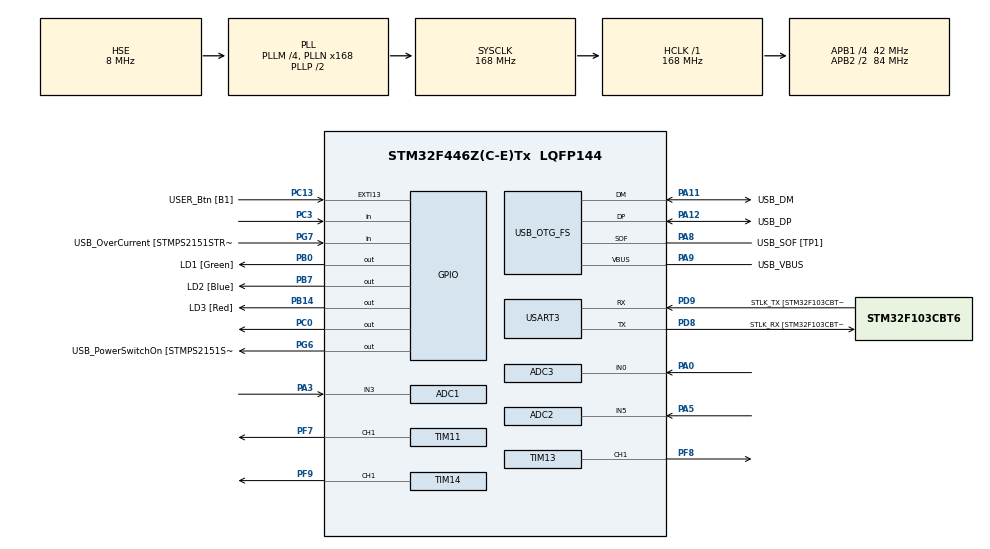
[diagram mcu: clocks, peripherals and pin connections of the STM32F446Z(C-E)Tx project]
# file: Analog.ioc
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ADC1.Channel-1\#ChannelRegularConversion=ADC_CHANNEL_3
ADC1.ClockPrescaler=ADC_CLOCK_SYNC_PCLK_DIV4
ADC1.NbrOfConversionFlag=1
ADC1.Rank-1\#ChannelRegularConversion=1
ADC1.SamplingTime-1\#ChannelRegularConversion=ADC_SAMPLETIME_3CYCLES
ADC1.master=1
ADC2.Channel-0\#ChannelRegularConversion=ADC_CHANNEL_5
ADC2.ClockPrescaler=ADC_CLOCK_SYNC_PCLK_DIV4
ADC2.NbrOfConversionFlag=1
ADC2.Rank-0\#ChannelRegularConversion=1
ADC2.SamplingTime-0\#ChannelRegularConversion=ADC_SAMPLETIME_3CYCLES
ADC3.Channel-0\#ChannelRegularConversion=ADC_CHANNEL_0
ADC3.ClockPrescaler=ADC_CLOCK_SYNC_PCLK_DIV4
ADC3.NbrOfConversionFlag=1
ADC3.Rank-0\#ChannelRegularConversion=1
ADC3.SamplingTime-0\#ChannelRegularConversion=ADC_SAMPLETIME_3CYCLES
Mcu.Family=STM32F4
Mcu.Name=STM32F446Z(C-E)Tx
Mcu.Package=LQFP144
NVIC.PriorityGroup=NVIC_PRIORITYGROUP_4
PA0-WKUP.Signal=ADCx_IN0
PA10.GPIO_Label=USB_ID
PA10.Signal=USB_OTG_FS_ID
PA11.GPIO_Label=USB_DM
PA11.Mode=Device_Only
PA11.Signal=USB_OTG_FS_DM
PA12.GPIO_Label=USB_DP
PA12.Mode=Device_Only
PA12.Signal=USB_OTG_FS_DP
PA13.GPIO_Label=TMS
PA13.Mode=Serial_Wire
PA13.Signal=SYS_JTMS-SWDIO
PA14.GPIO_Label=TCK
PA14.Mode=Serial_Wire
PA14.Signal=SYS_JTCK-SWCLK
PA3.Signal=ADCx_IN3
PA5.Signal=ADCx_IN5
PA8.GPIO_Label=USB_SOF [TP1]
PA8.Mode=Activate_SOF_FS
PA8.Signal=USB_OTG_FS_SOF
PA9.GPIO_Label=USB_VBUS
PA9.Mode=Activate_VBUS
PA9.Signal=USB_OTG_FS_VBUS
PB0.GPIO_Label=LD1 [Green]
PB0.Signal=GPIO_Output
PB14.GPIO_Label=LD3 [Red]
PB14.Signal=GPIO_Output
PB7.GPIO_Label=LD2 [Blue]
PB7.Signal=GPIO_Output
PC0.Signal=GPIO_Output
PC13.GPIO_Label=USER_Btn [B1]
PC13.Signal=GPXTI13
PC14-OSC32_IN.Mode=LSE-External-Oscillator
PC14-OSC32_IN.Signal=RCC_OSC32_IN
PC15-OSC32_OUT.Mode=LSE-External-Oscillator
PC15-OSC32_OUT.Signal=RCC_OSC32_OUT
PC3.Signal=GPIO_Input
PD8.GPIO_Label=STLK_RX [STM32F103CBT6_PA3]
PD8.Mode=Asynchronous
PD8.Signal=USART3_TX
PD9.GPIO_Label=STLK_TX [STM32F103CBT6_PA2]
PD9.Mode=Asynchronous
PD9.Signal=USART3_RX
PF7.Signal=S_TIM11_CH1
PF8.Signal=S_TIM13_CH1
PF9.Signal=S_TIM14_CH1
PG6.GPIO_Label=USB_PowerSwitchOn [STMPS2151STR_EN]
PG6.Signal=GPIO_Output
PG7.GPIO_Label=USB_OverCurrent [STMPS2151STR_FAULT]
PG7.Signal=GPIO_Input
PH0-OSC_IN.GPIO_Label=MCO [STM32F103CBT6_PA8]
PH0-OSC_IN.Mode=HSE-External-Oscillator
PH0-OSC_IN.Signal=RCC_OSC_IN
PH1-OSC_OUT.Mode=HSE-External-Oscillator
PH1-OSC_OUT.Signal=RCC_OSC_OUT
ProjectManager.HeapSize=0x200
ProjectManager.StackSize=0x400
ProjectManager.TargetToolchain=STM32CubeIDE
RCC.48MHZClocksFreq_Value=24000000
RCC.AHBFreq_Value=168000000
RCC.APB1CLKDivider=RCC_HCLK_DIV4
RCC.APB1Freq_Value=42000000
RCC.APB1TimFreq_Value=84000000
RCC.APB2CLKDivider=RCC_HCLK_DIV2
RCC.APB2Freq_Value=84000000
RCC.APB2TimFreq_Value=168000000
RCC.CortexFreq_Value=168000000
RCC.HCLKFreq_Value=168000000
RCC.HSE_VALUE=8000000
RCC.HSI_VALUE=16000000
RCC.PLLM=4
RCC.PLLMUL=RCC_PLL_MUL9
RCC.PLLN=168
RCC.PLLQ=7
RCC.PRESCALERUSB=RCC_USBCLKSOURCE_PLL_DIV1_5
RCC.SYSCLKFreq_VALUE=168000000
RCC.SYSCLKSource=RCC_SYSCLKSOURCE_PLLCLK
RCC.SYSCLKSourceVirtual=RCC_SYSCLKSOURCE_PLLCLK
RCC.USBFreq_Value=48000000
RCC.VCOOutputFreq_Value=336000000
SH.ADCx_IN0.0=ADC3_IN0,IN0
SH.ADCx_IN3.0=ADC1_IN3,IN3
SH.ADCx_IN5.0=ADC2_IN5,IN5
SH.S_TIM11_CH1.0=TIM11_CH1,PWM Generation1 CH1
SH.S_TIM13_CH1.0=TIM13_CH1,PWM Generation1 CH1
SH.S_TIM14_CH1.0=TIM14_CH1,PWM Generation1 CH1
TIM11.Channel=TIM_CHANNEL_1
TIM13.Channel=TIM_CHANNEL_1
TIM14.Channel=TIM_CHANNEL_1
USART3.VirtualMode=VM_ASYNC
USB_OTG_FS.VirtualMode=Device_Only
VP_TIM11_VS_ClockSourceINT.Mode=Enable_Timer
VP_TIM13_VS_ClockSourceINT.Mode=Enable_Timer
VP_TIM14_VS_ClockSourceINT.Mode=Enable_Timer
VP_TIM2_VS_ClockSourceINT.Mode=Internal
board=NUCLEO-F446ZE

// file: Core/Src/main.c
/* USER CODE BEGIN Header */
/**
  ******************************************************************************
  * @file           : main.c
  * @brief          : Main program body
  ******************************************************************************
  * @attention
  *
  * Copyright (c) 2023 STMicroelectronics.
  * All rights reserved.
  *
  * This software is licensed under terms that can be found in the LICENSE file
  * in the root directory of this software component.
  * If no LICENSE file comes with this software, it is provided AS-IS.
  *
  ******************************************************************************
  */
/* USER CODE END Header */
#include "main.h"
#include <stdio.h>

ADC_HandleTypeDef hadc1;
ADC_HandleTypeDef hadc2;
ADC_HandleTypeDef hadc3;

TIM_HandleTypeDef htim2;
TIM_HandleTypeDef htim11;
TIM_HandleTypeDef htim13;
TIM_HandleTypeDef htim14;

UART_HandleTypeDef huart3;

PCD_HandleTypeDef hpcd_USB_OTG_FS;

void SystemClock_Config(void);
static void MX_GPIO_Init(void);
static void MX_USART3_UART_Init(void);
static void MX_USB_OTG_FS_PCD_Init(void);
static void MX_ADC1_Init(void);
static void MX_ADC2_Init(void);
static void MX_ADC3_Init(void);
static void MX_TIM11_Init(void);
static void MX_TIM13_Init(void);
static void MX_TIM14_Init(void);
static void MX_TIM2_Init(void);

int main(void)
{
  /* USER CODE BEGIN 1 */
  uint32_t raw1;
  uint32_t raw2;
  uint32_t raw3;

  uint8_t MSG[100] = {'\0'};

  uint8_t reading = 0;
  uint8_t stahp = 0;
  uint32_t time;
  uint32_t dist;

  /* USER CODE END 1 */

  /* MCU Configuration--------------------------------------------------------*/

  /* Reset of all peripherals, Initializes the Flash interface and the Systick. */
  HAL_Init();

  /* Configure the system clock */
  SystemClock_Config();

  /* Initialize all configured peripherals */
  MX_GPIO_Init();
  MX_USART3_UART_Init();
  MX_USB_OTG_FS_PCD_Init();
  MX_ADC1_Init();
  MX_ADC2_Init();
  MX_ADC3_Init();
  MX_TIM11_Init();
  MX_TIM13_Init();
  MX_TIM14_Init();
  MX_TIM2_Init();
  /* USER CODE BEGIN 2 */
  HAL_TIM_PWM_Start(&htim11, TIM_CHANNEL_1);
  HAL_TIM_PWM_Start(&htim13, TIM_CHANNEL_1);
  HAL_TIM_PWM_Start(&htim14, TIM_CHANNEL_1);
  HAL_TIM_Base_Start(&htim2);

  /* USER CODE END 2 */

  /* Infinite loop */
  /* USER CODE BEGIN WHILE */
  while (1)
  {
	HAL_ADC_Start(&hadc1);
	HAL_ADC_PollForConversion(&hadc1, HAL_MAX_DELAY);
	raw1 = HAL_ADC_GetValue(&hadc1);

	HAL_ADC_Start(&hadc2);
	HAL_ADC_PollForConversion(&hadc2, HAL_MAX_DELAY);
	raw2 = HAL_ADC_GetValue(&hadc2);

	HAL_ADC_Start(&hadc3);
	HAL_ADC_PollForConversion(&hadc3, HAL_MAX_DELAY);
	raw3 = HAL_ADC_GetValue(&hadc3);

	TIM11->CCR1 = raw1 << 4;
	TIM13->CCR1 = raw2 << 4;
	TIM14->CCR1 = raw3 << 4;

	// DISTANCE SENSOR

	if(!reading)
	{
		HAL_GPIO_WritePin(GPIOC, GPIO_PIN_0, GPIO_PIN_SET);
		HAL_Delay(10);
		HAL_GPIO_WritePin(GPIOC, GPIO_PIN_0, GPIO_PIN_RESET);
		reading = 1;
	}
	else
	{
		if(!stahp && HAL_GPIO_ReadPin(GPIOC, GPIO_PIN_3) != GPIO_PIN_RESET)
		{
			time = __HAL_TIM_GET_COUNTER(&htim2);
			stahp = 1;
		}

		if(stahp && HAL_GPIO_ReadPin(GPIOC, GPIO_PIN_3) == GPIO_PIN_RESET)
		{
			dist = ((__HAL_TIM_GET_COUNTER(&htim2) - time)) / 58.0;
			reading = 0;
			stahp = 0;
		}
	}

	sprintf(MSG, "Distance: %d\r\n", dist);
	HAL_UART_Transmit(&huart3, MSG, sizeof(MSG), 100);

    /* USER CODE END WHILE */

  }
}

void SystemClock_Config(void)
{
  RCC_OscInitTypeDef RCC_OscInitStruct = {0};
  RCC_ClkInitTypeDef RCC_ClkInitStruct = {0};

  /** Configure the main internal regulator output voltage
  */
  __HAL_RCC_PWR_CLK_ENABLE();
  __HAL_PWR_VOLTAGESCALING_CONFIG(PWR_REGULATOR_VOLTAGE_SCALE1);

  /** Initializes the RCC Oscillators according to the specified parameters
  * in the RCC_OscInitTypeDef structure.
  */
  RCC_OscInitStruct.OscillatorType = RCC_OSCILLATORTYPE_HSE;
  RCC_OscInitStruct.HSEState = RCC_HSE_ON;
  RCC_OscInitStruct.PLL.PLLState = RCC_PLL_ON;
  RCC_OscInitStruct.PLL.PLLSource = RCC_PLLSOURCE_HSE;
  RCC_OscInitStruct.PLL.PLLM = 4;
  RCC_OscInitStruct.PLL.PLLN = 168;
  RCC_OscInitStruct.PLL.PLLP = RCC_PLLP_DIV2;
  RCC_OscInitStruct.PLL.PLLQ = 7;
  RCC_OscInitStruct.PLL.PLLR = 2;
  if (HAL_RCC_OscConfig(&RCC_OscInitStruct) != HAL_OK)
  {
    Error_Handler();
  }

  /** Initializes the CPU, AHB and APB buses clocks
  */
  RCC_ClkInitStruct.ClockType = RCC_CLOCKTYPE_HCLK|RCC_CLOCKTYPE_SYSCLK
                              |RCC_CLOCKTYPE_PCLK1|RCC_CLOCKTYPE_PCLK2;
  RCC_ClkInitStruct.SYSCLKSource = RCC_SYSCLKSOURCE_PLLCLK;
  RCC_ClkInitStruct.AHBCLKDivider = RCC_SYSCLK_DIV1;
  RCC_ClkInitStruct.APB1CLKDivider = RCC_HCLK_DIV4;
  RCC_ClkInitStruct.APB2CLKDivider = RCC_HCLK_DIV2;

  if (HAL_RCC_ClockConfig(&RCC_ClkInitStruct, FLASH_LATENCY_5) != HAL_OK)
  {
    Error_Handler();
  }
}

static void MX_ADC1_Init(void)
{

  ADC_ChannelConfTypeDef sConfig = {0};

  /** Configure the global features of the ADC (Clock, Resolution, Data Alignment and number of conversion)
  */
  hadc1.Instance = ADC1;
  hadc1.Init.ClockPrescaler = ADC_CLOCK_SYNC_PCLK_DIV4;
  hadc1.Init.Resolution = ADC_RESOLUTION_12B;
  hadc1.Init.ScanConvMode = DISABLE;
  hadc1.Init.ContinuousConvMode = DISABLE;
  hadc1.Init.DiscontinuousConvMode = DISABLE;
  hadc1.Init.ExternalTrigConvEdge = ADC_EXTERNALTRIGCONVEDGE_NONE;
  hadc1.Init.ExternalTrigConv = ADC_SOFTWARE_START;
  hadc1.Init.DataAlign = ADC_DATAALIGN_RIGHT;
  hadc1.Init.NbrOfConversion = 1;
  hadc1.Init.DMAContinuousRequests = DISABLE;
  hadc1.Init.EOCSelection = ADC_EOC_SINGLE_CONV;
  if (HAL_ADC_Init(&hadc1) != HAL_OK)
  {
    Error_Handler();
  }

  /** Configure for the selected ADC regular channel its corresponding rank in the sequencer and its sample time.
  */
  sConfig.Channel = ADC_CHANNEL_3;
  sConfig.Rank = 1;
  sConfig.SamplingTime = ADC_SAMPLETIME_3CYCLES;
  if (HAL_ADC_ConfigChannel(&hadc1, &sConfig) != HAL_OK)
  {
    Error_Handler();
  }

}

static void MX_ADC2_Init(void)
{

  ADC_ChannelConfTypeDef sConfig = {0};

  /** Configure the global features of the ADC (Clock, Resolution, Data Alignment and number of conversion)
  */
  hadc2.Instance = ADC2;
  hadc2.Init.ClockPrescaler = ADC_CLOCK_SYNC_PCLK_DIV4;
  hadc2.Init.Resolution = ADC_RESOLUTION_12B;
  hadc2.Init.ScanConvMode = DISABLE;
  hadc2.Init.ContinuousConvMode = DISABLE;
  hadc2.Init.DiscontinuousConvMode = DISABLE;
  hadc2.Init.ExternalTrigConvEdge = ADC_EXTERNALTRIGCONVEDGE_NONE;
  hadc2.Init.ExternalTrigConv = ADC_SOFTWARE_START;
  hadc2.Init.DataAlign = ADC_DATAALIGN_RIGHT;
  hadc2.Init.NbrOfConversion = 1;
  hadc2.Init.DMAContinuousRequests = DISABLE;
  hadc2.Init.EOCSelection = ADC_EOC_SINGLE_CONV;
  if (HAL_ADC_Init(&hadc2) != HAL_OK)
  {
    Error_Handler();
  }

  /** Configure for the selected ADC regular channel its corresponding rank in the sequencer and its sample time.
  */
  sConfig.Channel = ADC_CHANNEL_5;
  sConfig.Rank = 1;
  sConfig.SamplingTime = ADC_SAMPLETIME_3CYCLES;
  if (HAL_ADC_ConfigChannel(&hadc2, &sConfig) != HAL_OK)
  {
    Error_Handler();
  }

}

static void MX_ADC3_Init(void)
{

  ADC_ChannelConfTypeDef sConfig = {0};

  /** Configure the global features of the ADC (Clock, Resolution, Data Alignment and number of conversion)
  */
  hadc3.Instance = ADC3;
  hadc3.Init.ClockPrescaler = ADC_CLOCK_SYNC_PCLK_DIV4;
  hadc3.Init.Resolution = ADC_RESOLUTION_12B;
  hadc3.Init.ScanConvMode = DISABLE;
  hadc3.Init.ContinuousConvMode = DISABLE;
  hadc3.Init.DiscontinuousConvMode = DISABLE;
  hadc3.Init.ExternalTrigConvEdge = ADC_EXTERNALTRIGCONVEDGE_NONE;
  hadc3.Init.ExternalTrigConv = ADC_SOFTWARE_START;
  hadc3.Init.DataAlign = ADC_DATAALIGN_RIGHT;
  hadc3.Init.NbrOfConversion = 1;
  hadc3.Init.DMAContinuousRequests = DISABLE;
  hadc3.Init.EOCSelection = ADC_EOC_SINGLE_CONV;
  if (HAL_ADC_Init(&hadc3) != HAL_OK)
  {
    Error_Handler();
  }

  /** Configure for the selected ADC regular channel its corresponding rank in the sequencer and its sample time.
  */
  sConfig.Channel = ADC_CHANNEL_0;
  sConfig.Rank = 1;
  sConfig.SamplingTime = ADC_SAMPLETIME_3CYCLES;
  if (HAL_ADC_ConfigChannel(&hadc3, &sConfig) != HAL_OK)
  {
    Error_Handler();
  }

}

static void MX_TIM2_Init(void)
{

  TIM_ClockConfigTypeDef sClockSourceConfig = {0};
  TIM_MasterConfigTypeDef sMasterConfig = {0};

  htim2.Instance = TIM2;
  htim2.Init.Prescaler = 0;
  htim2.Init.CounterMode = TIM_COUNTERMODE_UP;
  htim2.Init.Period = 4294967295;
  htim2.Init.ClockDivision = TIM_CLOCKDIVISION_DIV1;
  htim2.Init.AutoReloadPreload = TIM_AUTORELOAD_PRELOAD_DISABLE;
  if (HAL_TIM_Base_Init(&htim2) != HAL_OK)
  {
    Error_Handler();
  }
  sClockSourceConfig.ClockSource = TIM_CLOCKSOURCE_INTERNAL;
  if (HAL_TIM_ConfigClockSource(&htim2, &sClockSourceConfig) != HAL_OK)
  {
    Error_Handler();
  }
  sMasterConfig.MasterOutputTrigger = TIM_TRGO_RESET;
  sMasterConfig.MasterSlaveMode = TIM_MASTERSLAVEMODE_DISABLE;
  if (HAL_TIMEx_MasterConfigSynchronization(&htim2, &sMasterConfig) != HAL_OK)
  {
    Error_Handler();
  }

}

static void MX_TIM11_Init(void)
{

  TIM_OC_InitTypeDef sConfigOC = {0};

  htim11.Instance = TIM11;
  htim11.Init.Prescaler = 0;
  htim11.Init.CounterMode = TIM_COUNTERMODE_UP;
  htim11.Init.Period = 65535;
  htim11.Init.ClockDivision = TIM_CLOCKDIVISION_DIV1;
  htim11.Init.AutoReloadPreload = TIM_AUTORELOAD_PRELOAD_DISABLE;
  if (HAL_TIM_Base_Init(&htim11) != HAL_OK)
  {
    Error_Handler();
  }
  if (HAL_TIM_PWM_Init(&htim11) != HAL_OK)
  {
    Error_Handler();
  }
  sConfigOC.OCMode = TIM_OCMODE_PWM1;
  sConfigOC.Pulse = 0;
  sConfigOC.OCPolarity = TIM_OCPOLARITY_HIGH;
  sConfigOC.OCFastMode = TIM_OCFAST_DISABLE;
  if (HAL_TIM_PWM_ConfigChannel(&htim11, &sConfigOC, TIM_CHANNEL_1) != HAL_OK)
  {
    Error_Handler();
  }
  HAL_TIM_MspPostInit(&htim11);

}

static void MX_TIM13_Init(void)
{

  TIM_OC_InitTypeDef sConfigOC = {0};

  htim13.Instance = TIM13;
  htim13.Init.Prescaler = 0;
  htim13.Init.CounterMode = TIM_COUNTERMODE_UP;
  htim13.Init.Period = 65535;
  htim13.Init.ClockDivision = TIM_CLOCKDIVISION_DIV1;
  htim13.Init.AutoReloadPreload = TIM_AUTORELOAD_PRELOAD_DISABLE;
  if (HAL_TIM_Base_Init(&htim13) != HAL_OK)
  {
    Error_Handler();
  }
  if (HAL_TIM_PWM_Init(&htim13) != HAL_OK)
  {
    Error_Handler();
  }
  sConfigOC.OCMode = TIM_OCMODE_PWM1;
  sConfigOC.Pulse = 0;
  sConfigOC.OCPolarity = TIM_OCPOLARITY_HIGH;
  sConfigOC.OCFastMode = TIM_OCFAST_DISABLE;
  if (HAL_TIM_PWM_ConfigChannel(&htim13, &sConfigOC, TIM_CHANNEL_1) != HAL_OK)
  {
    Error_Handler();
  }
  HAL_TIM_MspPostInit(&htim13);

}

static void MX_TIM14_Init(void)
{

  TIM_OC_InitTypeDef sConfigOC = {0};

  htim14.Instance = TIM14;
  htim14.Init.Prescaler = 0;
  htim14.Init.CounterMode = TIM_COUNTERMODE_UP;
  htim14.Init.Period = 65535;
  htim14.Init.ClockDivision = TIM_CLOCKDIVISION_DIV1;
  htim14.Init.AutoReloadPreload = TIM_AUTORELOAD_PRELOAD_DISABLE;
  if (HAL_TIM_Base_Init(&htim14) != HAL_OK)
  {
    Error_Handler();
  }
  if (HAL_TIM_PWM_Init(&htim14) != HAL_OK)
  {
    Error_Handler();
  }
  sConfigOC.OCMode = TIM_OCMODE_PWM1;
  sConfigOC.Pulse = 0;
  sConfigOC.OCPolarity = TIM_OCPOLARITY_HIGH;
  sConfigOC.OCFastMode = TIM_OCFAST_DISABLE;
  if (HAL_TIM_PWM_ConfigChannel(&htim14, &sConfigOC, TIM_CHANNEL_1) != HAL_OK)
  {
    Error_Handler();
  }
  HAL_TIM_MspPostInit(&htim14);

}

static void MX_USART3_UART_Init(void)
{

  huart3.Instance = USART3;
  huart3.Init.BaudRate = 115200;
  huart3.Init.WordLength = UART_WORDLENGTH_8B;
  huart3.Init.StopBits = UART_STOPBITS_1;
  huart3.Init.Parity = UART_PARITY_NONE;
  huart3.Init.Mode = UART_MODE_TX_RX;
  huart3.Init.HwFlowCtl = UART_HWCONTROL_NONE;
  huart3.Init.OverSampling = UART_OVERSAMPLING_16;
  if (HAL_UART_Init(&huart3) != HAL_OK)
  {
    Error_Handler();
  }

}

static void MX_USB_OTG_FS_PCD_Init(void)
{

  hpcd_USB_OTG_FS.Instance = USB_OTG_FS;
  hpcd_USB_OTG_FS.Init.dev_endpoints = 6;
  hpcd_USB_OTG_FS.Init.speed = PCD_SPEED_FULL;
  hpcd_USB_OTG_FS.Init.dma_enable = DISABLE;
  hpcd_USB_OTG_FS.Init.phy_itface = PCD_PHY_EMBEDDED;
  hpcd_USB_OTG_FS.Init.Sof_enable = ENABLE;
  hpcd_USB_OTG_FS.Init.low_power_enable = DISABLE;
  hpcd_USB_OTG_FS.Init.lpm_enable = DISABLE;
  hpcd_USB_OTG_FS.Init.vbus_sensing_enable = ENABLE;
  hpcd_USB_OTG_FS.Init.use_dedicated_ep1 = DISABLE;
  if (HAL_PCD_Init(&hpcd_USB_OTG_FS) != HAL_OK)
  {
    Error_Handler();
  }

}

static void MX_GPIO_Init(void)
{
  GPIO_InitTypeDef GPIO_InitStruct = {0};

  /* GPIO Ports Clock Enable */
  __HAL_RCC_GPIOC_CLK_ENABLE();
  __HAL_RCC_GPIOF_CLK_ENABLE();
  __HAL_RCC_GPIOH_CLK_ENABLE();
  __HAL_RCC_GPIOA_CLK_ENABLE();
  __HAL_RCC_GPIOB_CLK_ENABLE();
  __HAL_RCC_GPIOD_CLK_ENABLE();
  __HAL_RCC_GPIOG_CLK_ENABLE();

  /*Configure GPIO pin Output Level */
  HAL_GPIO_WritePin(GPIOC, GPIO_PIN_0, GPIO_PIN_RESET);

  /*Configure GPIO pin Output Level */
  HAL_GPIO_WritePin(GPIOB, LD1_Pin|LD3_Pin|LD2_Pin, GPIO_PIN_RESET);

  /*Configure GPIO pin Output Level */
  HAL_GPIO_WritePin(USB_PowerSwitchOn_GPIO_Port, USB_PowerSwitchOn_Pin, GPIO_PIN_RESET);

  /*Configure GPIO pin : USER_Btn_Pin */
  GPIO_InitStruct.Pin = USER_Btn_Pin;
  GPIO_InitStruct.Mode = GPIO_MODE_IT_RISING;
  GPIO_InitStruct.Pull = GPIO_NOPULL;
  HAL_GPIO_Init(USER_Btn_GPIO_Port, &GPIO_InitStruct);

  /*Configure GPIO pin : PC0 */
  GPIO_InitStruct.Pin = GPIO_PIN_0;
  GPIO_InitStruct.Mode = GPIO_MODE_OUTPUT_PP;
  GPIO_InitStruct.Pull = GPIO_NOPULL;
  GPIO_InitStruct.Speed = GPIO_SPEED_FREQ_LOW;
  HAL_GPIO_Init(GPIOC, &GPIO_InitStruct);

  /*Configure GPIO pin : PC3 */
  GPIO_InitStruct.Pin = GPIO_PIN_3;
  GPIO_InitStruct.Mode = GPIO_MODE_INPUT;
  GPIO_InitStruct.Pull = GPIO_NOPULL;
  HAL_GPIO_Init(GPIOC, &GPIO_InitStruct);

  /*Configure GPIO pins : LD1_Pin LD3_Pin LD2_Pin */
  GPIO_InitStruct.Pin = LD1_Pin|LD3_Pin|LD2_Pin;
  GPIO_InitStruct.Mode = GPIO_MODE_OUTPUT_PP;
  GPIO_InitStruct.Pull = GPIO_NOPULL;
  GPIO_InitStruct.Speed = GPIO_SPEED_FREQ_LOW;
  HAL_GPIO_Init(GPIOB, &GPIO_InitStruct);

  /*Configure GPIO pin : USB_PowerSwitchOn_Pin */
  GPIO_InitStruct.Pin = USB_PowerSwitchOn_Pin;
  GPIO_InitStruct.Mode = GPIO_MODE_OUTPUT_PP;
  GPIO_InitStruct.Pull = GPIO_NOPULL;
  GPIO_InitStruct.Speed = GPIO_SPEED_FREQ_LOW;
  HAL_GPIO_Init(USB_PowerSwitchOn_GPIO_Port, &GPIO_InitStruct);

  /*Configure GPIO pin : USB_OverCurrent_Pin */
  GPIO_InitStruct.Pin = USB_OverCurrent_Pin;
  GPIO_InitStruct.Mode = GPIO_MODE_INPUT;
  GPIO_InitStruct.Pull = GPIO_NOPULL;
  HAL_GPIO_Init(USB_OverCurrent_GPIO_Port, &GPIO_InitStruct);

}

void Error_Handler(void)
{
  __disable_irq();
  while (1)
  {
  }
}
